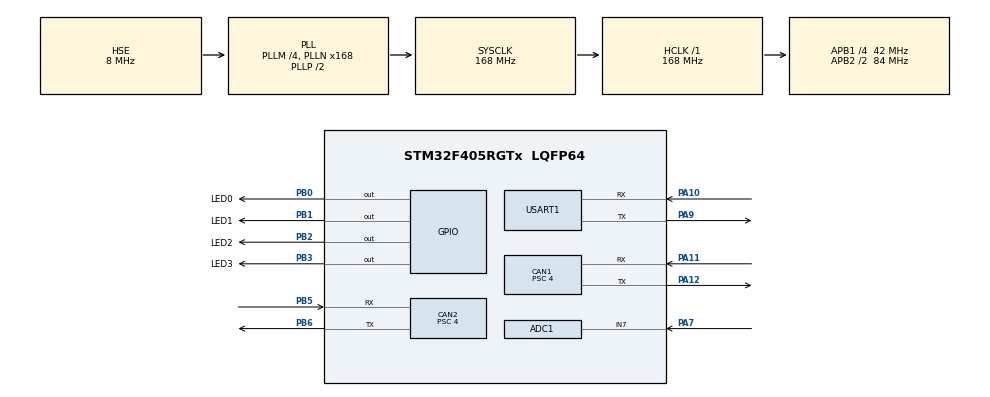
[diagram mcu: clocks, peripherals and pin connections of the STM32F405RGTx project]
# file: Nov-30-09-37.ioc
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ADC1.Channel-1\#ChannelRegularConversion=ADC_CHANNEL_7
ADC1.ContinuousConvMode=ENABLE
ADC1.NbrOfConversionFlag=1
ADC1.Rank-1\#ChannelRegularConversion=1
ADC1.SamplingTime-1\#ChannelRegularConversion=ADC_SAMPLETIME_144CYCLES
ADC1.master=1
CAN1.ABOM=ENABLE
CAN1.AWUM=ENABLE
CAN1.BS1=CAN_BS1_16TQ
CAN1.BS2=CAN_BS2_4TQ
CAN1.CalculateBaudRate=500000
CAN1.CalculateTimeBit=2000
CAN1.CalculateTimeQuantum=95.23809523809524
CAN1.Prescaler=4
CAN1.SJW=CAN_SJW_2TQ
CAN2.ABOM=ENABLE
CAN2.AWUM=ENABLE
CAN2.BS1=CAN_BS1_16TQ
CAN2.BS2=CAN_BS2_4TQ
CAN2.CalculateBaudRate=500000
CAN2.CalculateTimeBit=2000
CAN2.CalculateTimeQuantum=95.23809523809524
CAN2.Prescaler=4
CAN2.SJW=CAN_SJW_2TQ
Mcu.Family=STM32F4
Mcu.Name=STM32F405RGTx
Mcu.Package=LQFP64
NVIC.ADC_IRQn=true\:0\:0\:true\:false\:true\:true\:true\:true
NVIC.CAN1_RX0_IRQn=true\:0\:0\:false\:false\:true\:true\:true\:true
NVIC.CAN2_RX1_IRQn=true\:0\:0\:false\:false\:true\:true\:true\:true
NVIC.PriorityGroup=NVIC_PRIORITYGROUP_4
NVIC.TIM2_IRQn=true\:0\:0\:false\:false\:true\:true\:true\:true
PA10.Mode=Asynchronous
PA10.Signal=USART1_RX
PA11.Mode=CAN_Activate
PA11.Signal=CAN1_RX
PA12.Mode=CAN_Activate
PA12.Signal=CAN1_TX
PA7.Signal=ADCx_IN7
PA9.Mode=Asynchronous
PA9.Signal=USART1_TX
PB0.GPIO_Label=LED0
PB0.Signal=GPIO_Output
PB1.GPIO_Label=LED1
PB1.Signal=GPIO_Output
PB2.GPIO_Label=LED2
PB2.Signal=GPIO_Output
PB3.GPIO_Label=LED3
PB3.Signal=GPIO_Output
PB5.Mode=CAN_Activate
PB5.Signal=CAN2_RX
PB6.Mode=CAN_Activate
PB6.Signal=CAN2_TX
PH0-OSC_IN.Mode=HSE-External-Oscillator
PH0-OSC_IN.Signal=RCC_OSC_IN
PH1-OSC_OUT.Mode=HSE-External-Oscillator
PH1-OSC_OUT.Signal=RCC_OSC_OUT
ProjectManager.HeapSize=0x200
ProjectManager.StackSize=0x400
ProjectManager.TargetToolchain=STM32CubeIDE
RCC.48MHZClocksFreq_Value=84000000
RCC.AHBFreq_Value=168000000
RCC.APB1CLKDivider=RCC_HCLK_DIV4
RCC.APB1Freq_Value=42000000
RCC.APB1TimFreq_Value=84000000
RCC.APB2CLKDivider=RCC_HCLK_DIV2
RCC.APB2Freq_Value=84000000
RCC.APB2TimFreq_Value=168000000
RCC.CortexFreq_Value=168000000
RCC.HCLKFreq_Value=168000000
RCC.HSE_VALUE=8000000
RCC.HSI_VALUE=16000000
RCC.LSE_VALUE=32768
RCC.PLLM=4
RCC.PLLN=168
RCC.PLLSourceVirtual=RCC_PLLSOURCE_HSE
RCC.SYSCLKFreq_VALUE=168000000
RCC.SYSCLKSource=RCC_SYSCLKSOURCE_PLLCLK
RCC.VCOOutputFreq_Value=336000000
SH.ADCx_IN7.0=ADC1_IN7,IN7
TIM2.Period=9999
TIM2.Prescaler=8399
USART1.VirtualMode=VM_ASYNC
VP_TIM2_VS_ClockSourceINT.Mode=Internal
board=custom

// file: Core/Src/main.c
/* USER CODE BEGIN Header */
/** bai1
 ******************************************************************************
 * @file           : main.c
 * @brief          : Main program body
 ******************************************************************************
 * @attention
 *
 * Copyright (c) 2022 STMicroelectronics.
 * All rights reserved.
 *
 * This software is licensed under terms that can be found in the LICENSE file
 * in the root directory of this software component.
 * If no LICENSE file comes with this software, it is provided AS-IS.
 *
 ******************************************************************************
 */
/* USER CODE END Header */
#include "main.h"

/* USER CODE BEGIN Includes */
#include <stdio.h>
#include <string.h>
/* USER CODE END Includes */

ADC_HandleTypeDef hadc1;

CAN_HandleTypeDef hcan1;
CAN_HandleTypeDef hcan2;

TIM_HandleTypeDef htim2;

UART_HandleTypeDef huart1;

/* USER CODE BEGIN PV */
CAN_TxHeaderTypeDef Node1_TxHeader;
CAN_RxHeaderTypeDef Node1_RxHeader;

uint8_t Node1_TxData[8];
uint8_t Node1_RxData[8];

uint32_t Node1_TxMailbox;

int timer_rq = 0;
uint16_t var1 = 0;

CAN_TxHeaderTypeDef Node2_TxHeader;
CAN_RxHeaderTypeDef Node2_RxHeader;

uint8_t Node2_TxData[8];
uint8_t Node2_RxData[8];

uint32_t Node2_TxMailbox;
/* USER CODE END PV */

void SystemClock_Config(void);
static void MX_GPIO_Init(void);
static void MX_CAN1_Init(void);
static void MX_CAN2_Init(void);
static void MX_USART1_UART_Init(void);
static void MX_TIM2_Init(void);
static void MX_ADC1_Init(void);
/* USER CODE BEGIN PFP */
#ifdef __GNUC__
/* With GCC/RAISONANCE, small printf (option LD Linker->Libraries->Small printf
 set to 'Yes') calls __io_putchar() */
#define PUTCHAR_PROTOTYPE int __io_putchar(int ch)
#else
 #define PUTCHAR_PROTOTYPE int fputc(int ch, FILE *f)
#endif /* __GNUC__ */

/* USER CODE END PFP */

/* USER CODE BEGIN 0 */
void HAL_CAN_RxFifo0MsgPendingCallback(CAN_HandleTypeDef *hcan)
{
	HAL_CAN_GetRxMessage(hcan, CAN_RX_FIFO0, &Node1_RxHeader, Node1_RxData);
	if (Node1_RxHeader.DLC == 8 && Node1_RxData[1] == 0x62)
	{
		printf("Tester received: %x-%x-%x-%x-%x-%x-%x-%x\n", Node1_RxData[0],Node1_RxData[1],Node1_RxData[2],Node1_RxData[3], Node1_RxData[4], Node1_RxData[5], Node1_RxData[6], Node1_RxData[7]);
		HAL_GPIO_TogglePin(LED1_GPIO_Port, LED1_Pin);
	}
}

void HAL_CAN_RxFifo1MsgPendingCallback(CAN_HandleTypeDef *hcan)
{
	HAL_CAN_GetRxMessage(hcan, CAN_RX_FIFO1, &Node2_RxHeader, Node2_RxData);
	if (Node2_RxHeader.DLC == 8 && Node2_RxData[1] == 0x22)
	{
		HAL_GPIO_TogglePin(LED1_GPIO_Port, LED2_Pin);
		printf("Send response\r\n");
		// Send response with ADC, Service id + 0x40
		Node2_TxData[1] = Node2_RxData[1] + 0x40;

		Node2_TxData[2] = (var1>>8) & 0xff; //high
		Node2_TxData[3] = var1 & 0xff; //low
		HAL_CAN_AddTxMessage(&hcan2, &Node2_TxHeader, Node2_TxData,
					 &Node2_TxMailbox);
	}
}
void HAL_TIM_PeriodElapsedCallback(TIM_HandleTypeDef *htim)
{
	if(htim->Instance == htim2.Instance)
	{
		timer_rq = 1;
	}
}

/* USER CODE END 0 */

int main(void)
{
  /* USER CODE BEGIN 1 */
	printf("Start programming 0...\r\n");
  /* USER CODE END 1 */

  /* MCU Configuration--------------------------------------------------------*/

  /* Reset of all peripherals, Initializes the Flash interface and the Systick. */
  HAL_Init();

  /* Configure the system clock */
  SystemClock_Config();

  /* Initialize all configured peripherals */
  MX_GPIO_Init();
  MX_CAN1_Init();
  MX_CAN2_Init();
  MX_USART1_UART_Init();
  MX_TIM2_Init();
  MX_ADC1_Init();
  /* USER CODE BEGIN 2 */
  HAL_CAN_Start(&hcan1);
  HAL_CAN_Start(&hcan2);
  // start timer 2
  HAL_TIM_Base_Start_IT(&htim2);

  // Activate the notification
  HAL_CAN_ActivateNotification(&hcan1, CAN_IT_RX_FIFO0_MSG_PENDING);
  // Activate the notification
  HAL_CAN_ActivateNotification(&hcan2, CAN_IT_RX_FIFO1_MSG_PENDING);

  Node1_TxHeader.DLC = 8;  // data length
  Node1_TxHeader.IDE = CAN_ID_STD;
  Node1_TxHeader.RTR = CAN_RTR_DATA;
  Node1_TxHeader.StdId = 0x712;  // ID

  Node1_TxData[0] = 0x07; //Type 0: Single Frame
  Node1_TxData[1] = 0x22; //Service ID
  Node1_TxData[2] = 0x55;
  Node1_TxData[3] = 0x55;
  Node1_TxData[4] = 0x55;
  Node1_TxData[5] = 0x55;
  Node1_TxData[6] = 0x55;
  Node1_TxData[7] = 0x55;

  Node2_TxHeader.DLC = 8;  // data length
  Node2_TxHeader.IDE = CAN_ID_STD;
  Node2_TxHeader.RTR = CAN_RTR_DATA;
  Node2_TxHeader.StdId = 0x7A2;  // ID

  Node2_TxData[0] = 0x07;
  Node2_TxData[1] = 0xAA;
  Node2_TxData[2] = 0xAA;
  Node2_TxData[3] = 0xAA;
  Node2_TxData[4] = 0x00;
  Node2_TxData[5] = 0x00;
  Node2_TxData[6] = 0x00;
  Node2_TxData[7] = 0x00;

	printf("Start programming 1...\r\n");
  /* USER CODE END 2 */

  /* Infinite loop */
  while (1)
  {

    /* USER CODE BEGIN 3 */
	  // Start hadc1

	  if (timer_rq == 1)
	  {
		  HAL_ADC_Start_IT(&hadc1);

		  HAL_CAN_AddTxMessage(&hcan1, &Node1_TxHeader, Node1_TxData,
			 &Node1_TxMailbox);
		  timer_rq = 0; // flag for timer
	  }
  }
  /* USER CODE END 3 */
}

void SystemClock_Config(void)
{
  RCC_OscInitTypeDef RCC_OscInitStruct = {0};
  RCC_ClkInitTypeDef RCC_ClkInitStruct = {0};

  /** Configure the main internal regulator output voltage
  */
  __HAL_RCC_PWR_CLK_ENABLE();
  __HAL_PWR_VOLTAGESCALING_CONFIG(PWR_REGULATOR_VOLTAGE_SCALE1);

  /** Initializes the RCC Oscillators according to the specified parameters
  * in the RCC_OscInitTypeDef structure.
  */
  RCC_OscInitStruct.OscillatorType = RCC_OSCILLATORTYPE_HSE;
  RCC_OscInitStruct.HSEState = RCC_HSE_ON;
  RCC_OscInitStruct.PLL.PLLState = RCC_PLL_ON;
  RCC_OscInitStruct.PLL.PLLSource = RCC_PLLSOURCE_HSE;
  RCC_OscInitStruct.PLL.PLLM = 4;
  RCC_OscInitStruct.PLL.PLLN = 168;
  RCC_OscInitStruct.PLL.PLLP = RCC_PLLP_DIV2;
  RCC_OscInitStruct.PLL.PLLQ = 4;
  if (HAL_RCC_OscConfig(&RCC_OscInitStruct) != HAL_OK)
  {
    Error_Handler();
  }

  /** Initializes the CPU, AHB and APB buses clocks
  */
  RCC_ClkInitStruct.ClockType = RCC_CLOCKTYPE_HCLK|RCC_CLOCKTYPE_SYSCLK
                              |RCC_CLOCKTYPE_PCLK1|RCC_CLOCKTYPE_PCLK2;
  RCC_ClkInitStruct.SYSCLKSource = RCC_SYSCLKSOURCE_PLLCLK;
  RCC_ClkInitStruct.AHBCLKDivider = RCC_SYSCLK_DIV1;
  RCC_ClkInitStruct.APB1CLKDivider = RCC_HCLK_DIV4;
  RCC_ClkInitStruct.APB2CLKDivider = RCC_HCLK_DIV2;

  if (HAL_RCC_ClockConfig(&RCC_ClkInitStruct, FLASH_LATENCY_5) != HAL_OK)
  {
    Error_Handler();
  }
}

static void MX_ADC1_Init(void)
{

  ADC_ChannelConfTypeDef sConfig = {0};

  /** Configure the global features of the ADC (Clock, Resolution, Data Alignment and number of conversion)
  */
  hadc1.Instance = ADC1;
  hadc1.Init.ClockPrescaler = ADC_CLOCK_SYNC_PCLK_DIV4;
  hadc1.Init.Resolution = ADC_RESOLUTION_12B;
  hadc1.Init.ScanConvMode = DISABLE;
  hadc1.Init.ContinuousConvMode = ENABLE;
  hadc1.Init.DiscontinuousConvMode = DISABLE;
  hadc1.Init.ExternalTrigConvEdge = ADC_EXTERNALTRIGCONVEDGE_NONE;
  hadc1.Init.ExternalTrigConv = ADC_SOFTWARE_START;
  hadc1.Init.DataAlign = ADC_DATAALIGN_RIGHT;
  hadc1.Init.NbrOfConversion = 1;
  hadc1.Init.DMAContinuousRequests = DISABLE;
  hadc1.Init.EOCSelection = ADC_EOC_SINGLE_CONV;
  if (HAL_ADC_Init(&hadc1) != HAL_OK)
  {
    Error_Handler();
  }

  /** Configure for the selected ADC regular channel its corresponding rank in the sequencer and its sample time.
  */
  sConfig.Channel = ADC_CHANNEL_7;
  sConfig.Rank = 1;
  sConfig.SamplingTime = ADC_SAMPLETIME_144CYCLES;
  if (HAL_ADC_ConfigChannel(&hadc1, &sConfig) != HAL_OK)
  {
    Error_Handler();
  }

}

static void MX_CAN1_Init(void)
{

  hcan1.Instance = CAN1;
  hcan1.Init.Prescaler = 4;
  hcan1.Init.Mode = CAN_MODE_NORMAL;
  hcan1.Init.SyncJumpWidth = CAN_SJW_2TQ;
  hcan1.Init.TimeSeg1 = CAN_BS1_16TQ;
  hcan1.Init.TimeSeg2 = CAN_BS2_4TQ;
  hcan1.Init.TimeTriggeredMode = DISABLE;
  hcan1.Init.AutoBusOff = ENABLE;
  hcan1.Init.AutoWakeUp = ENABLE;
  hcan1.Init.AutoRetransmission = DISABLE;
  hcan1.Init.ReceiveFifoLocked = DISABLE;
  hcan1.Init.TransmitFifoPriority = DISABLE;
  if (HAL_CAN_Init(&hcan1) != HAL_OK)
  {
    Error_Handler();
  }
  /* USER CODE BEGIN CAN1_Init 2 */
  CAN_FilterTypeDef canfilterconfig;

  canfilterconfig.FilterActivation = CAN_FILTER_ENABLE;
  canfilterconfig.FilterBank = 18; // which filter bank to use from the assigned ones
  canfilterconfig.FilterFIFOAssignment = CAN_FILTER_FIFO0;
  canfilterconfig.FilterIdHigh = 0x7A2 << 5;
  canfilterconfig.FilterIdLow = 0;
  canfilterconfig.FilterMaskIdHigh = 0x7A2 << 5;
  canfilterconfig.FilterMaskIdLow = 0x0000;
  canfilterconfig.FilterMode = CAN_FILTERMODE_IDMASK;
  canfilterconfig.FilterScale = CAN_FILTERSCALE_32BIT;
  canfilterconfig.SlaveStartFilterBank = 20; // how many filters to assign to the CAN1 (master can)

  HAL_CAN_ConfigFilter(&hcan1, &canfilterconfig);
  /* USER CODE END CAN1_Init 2 */

}

static void MX_CAN2_Init(void)
{

  hcan2.Instance = CAN2;
  hcan2.Init.Prescaler = 4;
  hcan2.Init.Mode = CAN_MODE_NORMAL;
  hcan2.Init.SyncJumpWidth = CAN_SJW_2TQ;
  hcan2.Init.TimeSeg1 = CAN_BS1_16TQ;
  hcan2.Init.TimeSeg2 = CAN_BS2_4TQ;
  hcan2.Init.TimeTriggeredMode = DISABLE;
  hcan2.Init.AutoBusOff = ENABLE;
  hcan2.Init.AutoWakeUp = ENABLE;
  hcan2.Init.AutoRetransmission = DISABLE;
  hcan2.Init.ReceiveFifoLocked = DISABLE;
  hcan2.Init.TransmitFifoPriority = DISABLE;
  if (HAL_CAN_Init(&hcan2) != HAL_OK)
  {
    Error_Handler();
  }
  /* USER CODE BEGIN CAN2_Init 2 */
  CAN_FilterTypeDef canfilterconfig;

  canfilterconfig.FilterActivation = CAN_FILTER_ENABLE;
  canfilterconfig.FilterBank = 10; // which filter bank to use from the assigned ones
  canfilterconfig.FilterFIFOAssignment = CAN_FILTER_FIFO1;
  canfilterconfig.FilterIdHigh = 0x712 << 5;
  canfilterconfig.FilterIdLow = 0;
  canfilterconfig.FilterMaskIdHigh = 0x712 << 5;
  canfilterconfig.FilterMaskIdLow = 0x0000;
  canfilterconfig.FilterMode = CAN_FILTERMODE_IDMASK;
  canfilterconfig.FilterScale = CAN_FILTERSCALE_32BIT;
  canfilterconfig.SlaveStartFilterBank = 0; // doesn't matter in single can controllers

  HAL_CAN_ConfigFilter(&hcan2, &canfilterconfig);
  /* USER CODE END CAN2_Init 2 */

}

static void MX_TIM2_Init(void)
{

  TIM_ClockConfigTypeDef sClockSourceConfig = {0};
  TIM_MasterConfigTypeDef sMasterConfig = {0};

  htim2.Instance = TIM2;
  htim2.Init.Prescaler = 8399;
  htim2.Init.CounterMode = TIM_COUNTERMODE_UP;
  htim2.Init.Period = 9999;
  htim2.Init.ClockDivision = TIM_CLOCKDIVISION_DIV1;
  htim2.Init.AutoReloadPreload = TIM_AUTORELOAD_PRELOAD_DISABLE;
  if (HAL_TIM_Base_Init(&htim2) != HAL_OK)
  {
    Error_Handler();
  }
  sClockSourceConfig.ClockSource = TIM_CLOCKSOURCE_INTERNAL;
  if (HAL_TIM_ConfigClockSource(&htim2, &sClockSourceConfig) != HAL_OK)
  {
    Error_Handler();
  }
  sMasterConfig.MasterOutputTrigger = TIM_TRGO_RESET;
  sMasterConfig.MasterSlaveMode = TIM_MASTERSLAVEMODE_DISABLE;
  if (HAL_TIMEx_MasterConfigSynchronization(&htim2, &sMasterConfig) != HAL_OK)
  {
    Error_Handler();
  }

}

static void MX_USART1_UART_Init(void)
{

  huart1.Instance = USART1;
  huart1.Init.BaudRate = 115200;
  huart1.Init.WordLength = UART_WORDLENGTH_8B;
  huart1.Init.StopBits = UART_STOPBITS_1;
  huart1.Init.Parity = UART_PARITY_NONE;
  huart1.Init.Mode = UART_MODE_TX_RX;
  huart1.Init.HwFlowCtl = UART_HWCONTROL_NONE;
  huart1.Init.OverSampling = UART_OVERSAMPLING_16;
  if (HAL_UART_Init(&huart1) != HAL_OK)
  {
    Error_Handler();
  }

}

static void MX_GPIO_Init(void)
{
  GPIO_InitTypeDef GPIO_InitStruct = {0};

  /* GPIO Ports Clock Enable */
  __HAL_RCC_GPIOH_CLK_ENABLE();
  __HAL_RCC_GPIOA_CLK_ENABLE();
  __HAL_RCC_GPIOB_CLK_ENABLE();

  /*Configure GPIO pin Output Level */
  HAL_GPIO_WritePin(GPIOB, LED0_Pin|LED1_Pin|LED2_Pin|LED3_Pin, GPIO_PIN_RESET);

  /*Configure GPIO pins : LED0_Pin LED1_Pin LED2_Pin LED3_Pin */
  GPIO_InitStruct.Pin = LED0_Pin|LED1_Pin|LED2_Pin|LED3_Pin;
  GPIO_InitStruct.Mode = GPIO_MODE_OUTPUT_PP;
  GPIO_InitStruct.Pull = GPIO_NOPULL;
  GPIO_InitStruct.Speed = GPIO_SPEED_FREQ_LOW;
  HAL_GPIO_Init(GPIOB, &GPIO_InitStruct);

}

/* USER CODE BEGIN 4 */
/**
 * @brief Retargets the C library printf function to the USART.
 * @param None
 * @retval None
 */
PUTCHAR_PROTOTYPE
{
  /* Place your implementation of fputc here */
  /* e.g. write a character to the USART */
  HAL_UART_Transmit(&huart1, (uint8_t*) &ch, 1, 300);
  return ch;
}

void HAL_ADC_ConvCpltCallback(ADC_HandleTypeDef* hadc)
{
 if(hadc->Instance == hadc1.Instance)
 {
	 var1 = HAL_ADC_GetValue(&hadc1);
 }
}
/* USER CODE END 4 */

void Error_Handler(void)
{
  __disable_irq();
  while (1)
  {
  }
}
